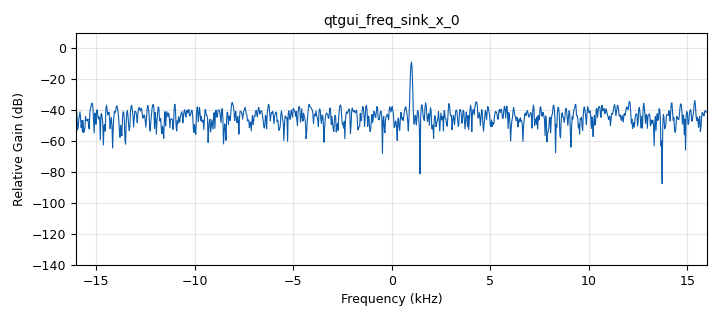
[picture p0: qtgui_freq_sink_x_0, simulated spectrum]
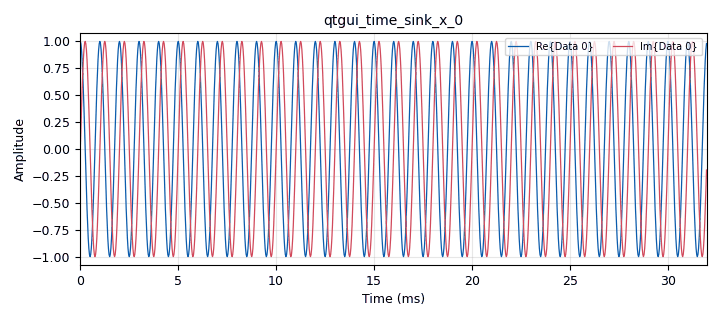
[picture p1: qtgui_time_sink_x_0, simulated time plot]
options:
  parameters:
    generate_options: qt_gui
    id: ece_531_intro
    output_language: python
    title: ece-531
  states: {}

blocks:
- name: amplitude
  id: variable_qtgui_range
  parameters:
    label: noise_amplitude
    start: '0'
    step: '0.01'
    stop: '1'
    value: '0.5'
  states: {}
- name: freq
  id: variable_qtgui_range
  parameters:
    label: signal_frequency
    start: '500'
    step: '100'
    stop: '3000'
    value: '1000'
  states: {}
- name: samp_rate
  id: variable
  parameters:
    value: 32e3
  states: {}
- name: analog_noise_source_x_0
  id: analog_noise_source_x
  parameters:
    amp: amplitude
    noise_type: analog.GR_GAUSSIAN
    seed: '0'
    type: complex
  states: {}
- name: analog_sig_source_x_0
  id: analog_sig_source_x
  parameters:
    amp: '1'
    freq: freq
    offset: '0'
    phase: '0'
    samp_rate: samp_rate
    type: complex
    waveform: analog.GR_COS_WAVE
  states: {}
- name: analog_sig_source_x_1
  id: analog_sig_source_x
  parameters:
    amp: '1'
    freq: '1000'
    offset: '0'
    phase: '0'
    samp_rate: samp_rate
    type: complex
    waveform: analog.GR_COS_WAVE
  states: {}
- name: blocks_add_xx_0
  id: blocks_add_xx
  parameters:
    type: complex
  states: {}
- name: blocks_null_sink_0
  id: blocks_null_sink
  parameters:
    type: complex
  states: {}
- name: blocks_null_source_0
  id: blocks_null_source
  parameters:
    type: complex
  states: {}
- name: blocks_throttle2_0
  id: blocks_throttle2
  parameters:
    samples_per_second: samp_rate
    type: complex
  states: {}
- name: qtgui_freq_sink_x_0
  id: qtgui_freq_sink_x
  parameters:
    bw: samp_rate
    fc: '0'
    fftsize: '1024'
    type: complex
  states: {}
- name: qtgui_time_sink_x_0
  id: qtgui_time_sink_x
  parameters:
    size: '1024'
    srate: samp_rate
    type: complex
  states: {}

connections:
- [analog_noise_source_x_0, '0', blocks_add_xx_0, '1']
- [analog_sig_source_x_0, '0', blocks_add_xx_0, '0']
- [analog_sig_source_x_1, '0', qtgui_time_sink_x_0, '0']
- [blocks_add_xx_0, '0', qtgui_freq_sink_x_0, '0']
- [blocks_null_source_0, '0', blocks_throttle2_0, '0']
- [blocks_throttle2_0, '0', blocks_null_sink_0, '0']

metadata:
  file_format: 1
  grc_version: 3.10.8.0
